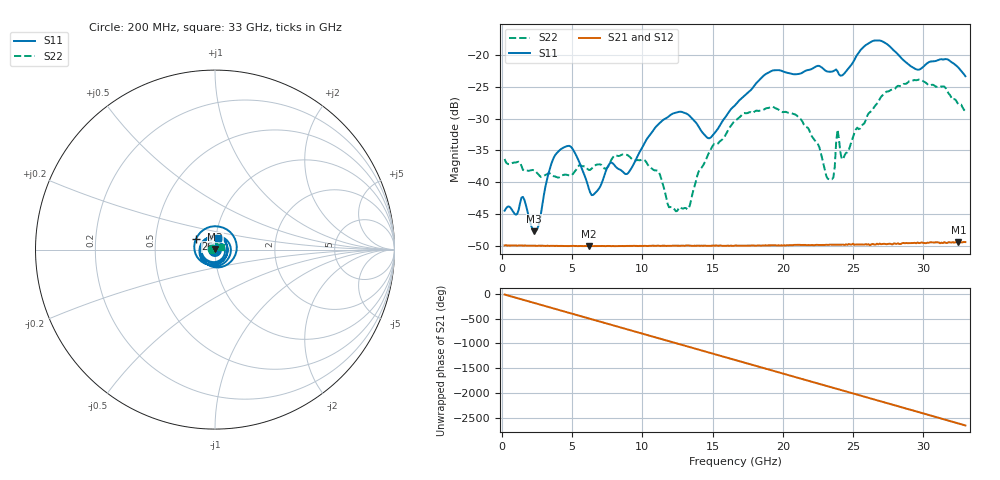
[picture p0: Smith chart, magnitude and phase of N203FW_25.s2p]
# GHZ S RI R 50
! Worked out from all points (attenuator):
!   329 points, 200 MHz to 33 GHz, reference 50 ohm
!   highest |S21| = -49.42 dB at 32.5 GHz (marker M1); lowest = -50.1 dB at 6.2 GHz (marker M2)
!   lowest |S11| = -47.7 dB at 2.3 GHz (marker M3), VSWR 1.01, Z = 50.1 + j0.395 ohm
!   |S11| at or under -10 dB: start of sweep to end of sweep
!   |S22| runs from -44.6 to -23.9 dB; largest |S21 - S12| = 8.8e-05
!   S11 on the Smith chart (normalised r, x): 200 MHz: 1.01, +0.00; 26 GHz: 0.80, +0.10; 33 GHz: 1.03, +0.14
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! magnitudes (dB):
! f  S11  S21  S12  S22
! 200 MHz  -44.5  -50.0  -49.9  -36.4
! 1.5 GHz  -42.3  -50.0  -50.0  -38.1
! 2.3 GHz  -47.7  -50.0  -50.0  -38.2
! 3.8 GHz  -35.7  -50.0  -50.0  -39.1
! 5.7 GHz  -37.9  -50.1  -50.1  -37.5
! 6.2 GHz  -41.1  -50.1  -50.1  -38.1
! 9 GHz  -38.6  -50.1  -50.0  -35.8
! 11.2 GHz  -30.8  -50.0  -50.0  -38.5
! 11.9 GHz  -29.6  -50.0  -50.0  -44.0
! 13.3 GHz  -29.4  -50.0  -50.0  -44.2
! 14.8 GHz  -33.1  -50.0  -50.0  -35.2
! 16.6 GHz  -27.9  -50.0  -50.0  -30.3
! 19.3 GHz  -22.4  -49.9  -49.9  -28.1
! 22.1 GHz  -22.1  -49.9  -49.9  -32.9
! 23.5 GHz  -22.6  -49.9  -49.8  -39.5
! 23.9 GHz  -22.6  -49.9  -49.9  -31.7
! 24.3 GHz  -23.1  -49.8  -49.8  -36.4
! 26 GHz  -18.3  -49.8  -49.8  -29.6
! 27.6 GHz  -18.6  -49.7  -49.7  -25.6
! 29.8 GHz  -22.2  -49.6  -49.6  -23.9
! 32.5 GHz  -22.0  -49.4  -49.4  -27.8
! 33 GHz  -23.3  -49.4  -49.5  -28.9
